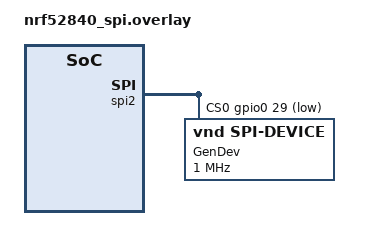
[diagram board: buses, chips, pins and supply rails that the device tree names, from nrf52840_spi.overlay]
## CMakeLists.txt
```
#
# Copyright (c) 2018 Nordic Semiconductor
#
# SPDX-License-Identifier: LicenseRef-Nordic-5-Clause
#
cmake_minimum_required(VERSION 3.20.0)

find_package(Zephyr REQUIRED HINTS $ENV{ZEPHYR_BASE})
project(peripheral_spi_test)

# NORDIC SDK APP START
target_sources(app PRIVATE
  src/main.c
)

# Preinitialization related to Thingy:53 DFU
target_sources_ifdef(CONFIG_BOARD_THINGY53_NRF5340_CPUAPP app PRIVATE
  boards/thingy53.c
)
target_sources_ifdef(CONFIG_BOARD_THINGY53_NRF5340_CPUAPP_NS app PRIVATE
  boards/thingy53.c
)


# NORDIC SDK APP END
zephyr_library_include_directories(.)
```

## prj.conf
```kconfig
#
# Copyright (c) 2018 Nordic Semiconductor
#
# SPDX-License-Identifier: LicenseRef-Nordic-5-Clause
#
CONFIG_FW_INFO=y
CONFIG_NCS_SAMPLES_DEFAULTS=y

CONFIG_BT=y
CONFIG_BT_PERIPHERAL=y
CONFIG_BT_DEVICE_NAME="Nordic_LBS"

# Enable the LBS service
CONFIG_BT_LBS=y
CONFIG_BT_LBS_POLL_BUTTON=y
CONFIG_DK_LIBRARY=y

CONFIG_SYSTEM_WORKQUEUE_STACK_SIZE=2048


CONFIG_SHELL=y
CONFIG_I2C=y
CONFIG_I2C_SHELL=y
CONFIG_SPI=y
CONFIG_SPEED_OPTIMIZATIONS=n

# Enable FPU
CONFIG_FPU=y
CONFIG_FPU_SHARING=y
# Enable newlib
CONFIG_NEWLIB_LIBC=y
CONFIG_NEWLIB_LIBC_FLOAT_PRINTF=y
```

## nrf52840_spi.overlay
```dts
&spi1 {
    status = "disabled";
};
&qspi {
    status = "disabled";
};
&led0 {
    status = "disabled";

}
;&led1 {
    status = "disabled";

};
/*
&spi2_default {
    psels = <NRF_PSEL(SPIM_SCK, 0, 13)>,
            <NRF_PSEL(SPIM_MOSI, 0, 15)>,
            <NRF_PSEL(SPIM_MISO, 0, 16)>;
};

&spi2_sleep {
    psels = <NRF_PSEL(SPIM_SCK, 0, 13)>,
            <NRF_PSEL(SPIM_MOSI, 0, 15)>,
            <NRF_PSEL(SPIM_MISO, 0, 16)>;
};
 */
&spi2 {
    compatible = "nordic,nrf-spi";
    status = "okay";
    cs-gpios = <&gpio0 29 GPIO_ACTIVE_LOW>;

    pinctrl-0 = <&spi1_default>;
    pinctrl-1 = <&spi1_sleep>;
    pinctrl-names = "default", "sleep";


    gendev: gendev@0 {
        compatible = "vnd,spi-device";
        reg = <0>;
        spi-max-frequency = <1000000>;
        label = "GenDev";
    };
};
```

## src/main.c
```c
/*
 * Copyright (c) 2018 Nordic Semiconductor ASA
 *
 * SPDX-License-Identifier: LicenseRef-Nordic-5-Clause
 */

#include <zephyr/types.h>
#include <stddef.h>
#include <string.h>
#include <errno.h>
#include <zephyr/sys/printk.h>
#include <zephyr/sys/byteorder.h>
#include <zephyr/kernel.h>
#include <zephyr/drivers/gpio.h>

#include <zephyr/drivers/spi.h>
#include <zephyr/logging/log.h>

LOG_MODULE_REGISTER(main, LOG_LEVEL_DBG);

#include <stdio.h>
#include <string.h>
#include <stdint.h>

#include <assert.h>
#include <soc.h>

#include <zephyr/bluetooth/bluetooth.h>
#include <zephyr/bluetooth/hci.h>
#include <zephyr/bluetooth/conn.h>
#include <zephyr/bluetooth/uuid.h>
#include <zephyr/bluetooth/gatt.h>

#include <bluetooth/services/lbs.h>

#include <zephyr/settings/settings.h>

#include <dk_buttons_and_leds.h>

#include "ICM42688_Registers.h"

#define DEVICE_NAME CONFIG_BT_DEVICE_NAME
#define DEVICE_NAME_LEN (sizeof(DEVICE_NAME) - 1)

#define RUN_STATUS_LED DK_LED1
#define CON_STATUS_LED DK_LED2
#define RUN_LED_BLINK_INTERVAL 1000

#define USER_LED DK_LED3

#define USER_BUTTON DK_BTN1_MSK

// #define SPI_OP_MODE (SPI_OP_MODE_MASTER | SPI_WORD_SET(8) | SPI_LINES_SINGLE)
// static const struct spi_dt_spec spiDev = SPI_DT_SPEC_GET(DT_NODELABEL(icm20689), SPI_OP_MODE, 0);

#define SPIOP (SPI_OP_MODE_MASTER | SPI_WORD_SET(8) | SPI_LINES_SINGLE)
static const struct spi_dt_spec spispec = SPI_DT_SPEC_GET(DT_NODELABEL(gendev), SPIOP, 0);
#define WHO_AM_I_REG 0x75
#define RESET_REG 0x6b
#define WHO_AM_I_VAL 0x47
#define ICM_READ_BIT_MASK (0x80)
#define ICM_WRITE_BIT_MASK (0x7F)
static struct inv_icm207xx_serif icm207xx_serif;

extern const struct device *spi_dev;
const struct spi_config spi_cfg = {
	.frequency = 1000000, // 1 MHz
	.operation = SPI_OP_MODE_MASTER | SPI_WORD_SET(8) | SPI_LINES_SINGLE,
	.slave = 0, // CS 线路
	.cs = NULL, // 如果需要，这里可以指定一个 spi_cs_control 结构体来控制片选线
};
#define SPIOP SPI_WORD_SET(8) | SPI_TRANSFER_MSB

static bool app_button_state;

static const struct bt_data ad[] = {
	BT_DATA_BYTES(BT_DATA_FLAGS, (BT_LE_AD_GENERAL | BT_LE_AD_NO_BREDR)),
	BT_DATA(BT_DATA_NAME_COMPLETE, DEVICE_NAME, DEVICE_NAME_LEN),
};

static const struct bt_data sd[] = {
	BT_DATA_BYTES(BT_DATA_UUID128_ALL, BT_UUID_LBS_VAL),
};
struct inv_icm207xx_serif
{
	void *context;
	int (*read_reg)(void *context, uint8_t reg, uint8_t *buf, uint32_t len);
	int (*write_reg)(void *context, uint8_t reg, const uint8_t *buf, uint32_t len);
	uint32_t max_read;
	uint32_t max_write;
	int is_spi;
};

static void connected(struct bt_conn *conn, uint8_t err)
{
	if (err)
	{
		printk("Connection failed (err %u)\n", err);
		return;
	}

	printk("Connected\n");

	dk_set_led_on(CON_STATUS_LED);
}

static void disconnected(struct bt_conn *conn, uint8_t reason)
{
	printk("Disconnected (reason %u)\n", reason);

	dk_set_led_off(CON_STATUS_LED);
}

#ifdef CONFIG_BT_LBS_SECURITY_ENABLED
static void security_changed(struct bt_conn *conn, bt_security_t level,
							 enum bt_security_err err)
{
	char addr[BT_ADDR_LE_STR_LEN];

	bt_addr_le_to_str(bt_conn_get_dst(conn), addr, sizeof(addr));

	if (!err)
	{
		printk("Security changed: %s level %u\n", addr, level);
	}
	else
	{
		printk("Security failed: %s level %u err %d\n", addr, level,
			   err);
	}
}
#endif

BT_CONN_CB_DEFINE(conn_callbacks) = {
	.connected = connected,
	.disconnected = disconnected,
#ifdef CONFIG_BT_LBS_SECURITY_ENABLED
	.security_changed = security_changed,
#endif
};

#if defined(CONFIG_BT_LBS_SECURITY_ENABLED)
static void auth_passkey_display(struct bt_conn *conn, unsigned int passkey)
{
	char addr[BT_ADDR_LE_STR_LEN];

	bt_addr_le_to_str(bt_conn_get_dst(conn), addr, sizeof(addr));

	printk("Passkey for %s: %06u\n", addr, passkey);
}

static void auth_cancel(struct bt_conn *conn)
{
	char addr[BT_ADDR_LE_STR_LEN];

	bt_addr_le_to_str(bt_conn_get_dst(conn), addr, sizeof(addr));

	printk("Pairing cancelled: %s\n", addr);
}

static void pairing_complete(struct bt_conn *conn, bool bonded)
{
	char addr[BT_ADDR_LE_STR_LEN];

	bt_addr_le_to_str(bt_conn_get_dst(conn), addr, sizeof(addr));

	printk("Pairing completed: %s, bonded: %d\n", addr, bonded);
}

static void pairing_failed(struct bt_conn *conn, enum bt_security_err reason)
{
	char addr[BT_ADDR_LE_STR_LEN];

	bt_addr_le_to_str(bt_conn_get_dst(conn), addr, sizeof(addr));

	printk("Pairing failed conn: %s, reason %d\n", addr, reason);
}

static struct bt_conn_auth_cb conn_auth_callbacks = {
	.passkey_display = auth_passkey_display,
	.cancel = auth_cancel,
};

static struct bt_conn_auth_info_cb conn_auth_info_callbacks = {
	.pairing_complete = pairing_complete,
	.pairing_failed = pairing_failed};
#else
static struct bt_conn_auth_cb conn_auth_callbacks;
static struct bt_conn_auth_info_cb conn_auth_info_callbacks;
#endif

static void app_led_cb(bool led_state)
{
	dk_set_led(USER_LED, led_state);
}

static bool app_button_cb(void)
{
	return app_button_state;
}

static struct bt_lbs_cb lbs_callbacs = {
	.led_cb = app_led_cb,
	.button_cb = app_button_cb,
};

static void button_changed(uint32_t button_state, uint32_t has_changed)
{
	if (has_changed & USER_BUTTON)
	{
		uint32_t user_button_state = button_state & USER_BUTTON;

		bt_lbs_send_button_state(user_button_state);
		app_button_state = user_button_state ? true : false;
	}
}

static int init_button(void)
{
	int err;

	err = dk_buttons_init(button_changed);
	if (err)
	{
		printk("Cannot init buttons (err: %d)\n", err);
	}

	return err;
}
int spi_master_transfer(uint8_t reg, const uint8_t *tx, uint32_t tx_len, uint8_t *rx, uint32_t rx_len)
{

	static uint8_t _send[32];
	static uint8_t _recv[64];
	memset(_send, 0, sizeof(_send));
	_send[0] = reg;

	if (tx_len && tx_len < sizeof(_send) - 1) // 确保不会超出 _send 数组的界限
	{
		memcpy(&_send[1], tx, tx_len);
	}
#ifdef DEBUG
	printk("reg 0x%02x \n", reg);
	// print tx
	printk("tx_len %d \n", tx_len);
	for (int i = 0; i < tx_len; i++)
	{
		printk("0x%02x ", tx[i]);
	}
	// print _send
	printk("\n");
	for (int i = 0; i < tx_len + 1; i++)
	{
		printk("0x%02x ", _send[i]);
	}

	printk("\n");
#endif
	struct spi_buf tx_spi_buf = {.buf = (void *)_send, .len = sizeof(reg) + tx_len};
	struct spi_buf_set tx_set = {.buffers = &tx_spi_buf, .count = 1};
	struct spi_buf rx_spi_buf = {.buf = (void *)_recv, .len = tx_spi_buf.len + rx_len};
	struct spi_buf_set rx_set = {.buffers = &rx_spi_buf, .count = 1};
	spi_transceive_dt(&spispec, &tx_set, &rx_set);

	if (rx_len)
	{
		// printk("_recv[tx_spi_buf.len] 0x%02x \n", _recv[tx_spi_buf.len]);
		memcpy(rx, &_recv[tx_spi_buf.len], rx_len);
	}

	return 0;
}
static int idd_io_hal_read_reg(void *context, uint8_t reg, uint8_t *rbuffer, uint32_t rlen)
{
	(void)context;
	return spi_master_transfer(reg | ICM_READ_BIT_MASK, NULL, 0, rbuffer, rlen);
}

static int idd_io_hal_write_reg(void *context, uint8_t reg, const uint8_t *wbuffer, uint32_t wlen)
{
	(void)context;
	return spi_master_transfer(reg & ICM_WRITE_BIT_MASK, wbuffer, wlen, NULL, 0);
}

void read_spi_data_from_register(void)
{
	uint8_t tx_buffer[] = {WHO_AM_I_REG | 0x80}; // 设定读取命令，这里假设需要设置最高位为1
	uint8_t rx_buffer[10] = {0};				 // 假设我们需要读取 10 个字节的数据

	struct spi_buf tx_buf = {
		.buf = tx_buffer,
		.len = sizeof(tx_buffer)};
	struct spi_buf rx_buf = {
		.buf = rx_buffer,
		.len = sizeof(rx_buffer)};

	struct spi_buf_set tx_bufs = {
		.buffers = &tx_buf,
		.count = 1};
	struct spi_buf_set rx_bufs = {
		.buffers = &rx_buf,
		.count = 1};

	/* 调用 spi_transceive 来发送读取命令并接收数据 */
	int ret = spi_transceive(spi_dev, &spi_cfg, &tx_bufs, &rx_bufs);
	if (ret == 0)
	{
		printk("Data read from register successfully.\n");
		// 这里可以添加代码来处理接收到的数据
	}
	else
	{
		printk("Failed to read data from register: %d\n", ret);
	}
}
void main(void)
{
	int blink_status = 0;
	int err;
	LOG_INF("Connected");
	printk("Starting Bluetooth Peripheral LBS example\n");
	printk("Starting Bluetooth Peripheral LBS example\n");

	err = dk_leds_init();
	if (err)
	{
		printk("LEDs init failed (err %d)\n", err);
		return;
	}

	err = init_button();
	if (err)
	{
		printk("Button init failed (err %d)\n", err);
		return;
	}

	if (IS_ENABLED(CONFIG_BT_LBS_SECURITY_ENABLED))
	{
		err = bt_conn_auth_cb_register(&conn_auth_callbacks);
		if (err)
		{
			printk("Failed to register authorization callbacks.\n");
			return;
		}

		err = bt_conn_auth_info_cb_register(&conn_auth_info_callbacks);
		if (err)
		{
			printk("Failed to register authorization info callbacks.\n");
			return;
		}
	}

	err = bt_enable(NULL);
	if (err)
	{
		printk("Bluetooth init failed (err %d)\n", err);
		return;
	}

	printk("Bluetooth initialized\n");

	if (IS_ENABLED(CONFIG_SETTINGS))
	{
		settings_load();
	}

	err = bt_lbs_init(&lbs_callbacs);
	if (err)
	{
		printk("Failed to init LBS (err:%d)\n", err);
		return;
	}

	err = bt_le_adv_start(BT_LE_ADV_CONN, ad, ARRAY_SIZE(ad),
						  sd, ARRAY_SIZE(sd));
	if (err)
	{
		printk("Advertising failed to start (err %d)\n", err);
		return;
	}

	printk("Advertising successfully started\n");

	if (!spi_is_ready(&spispec))
	{
		printk("Device spi not ready, aborting test");
		return -ENXIO;
	}
	else
	{

		printk("Device spi ready\n");
	}

	uint8_t tx_data[] = {0x00}; // 创建包含单个字节的数组
	uint8_t rx_data[] = {0x00}; // 创建包含单个字节的数组
	for (;;)
	{

		dk_set_led(RUN_STATUS_LED, (++blink_status) % 2);
		k_sleep(K_MSEC(1));
		spi_master_transfer(UB0_REG_DEVICE_CONFIG & ICM_WRITE_BIT_MASK, (uint8_t[]){0x01}, 1, NULL, 0);
		spi_master_transfer(WHO_AM_I_REG | ICM_READ_BIT_MASK, NULL, 0, rx_data, 1);
		printk("WHOAMI 0x%02x \n", rx_data[0]);

		// MGMT0 CONFIG
		spi_master_transfer(UB0_REG_PWR_MGMT0 & ICM_WRITE_BIT_MASK, (uint8_t[]){0x0F}, 1, NULL, 0); // UB0_REG_PWR_MGMT0 W 0x0F
		spi_master_transfer(UB0_REG_PWR_MGMT0 | ICM_READ_BIT_MASK, NULL, 0, rx_data, 1);
		printk("MGMT0 0x%02x \n", rx_data[0]);

		// ACC CONFIG0
		spi_master_transfer(UB0_REG_ACCEL_CONFIG0 & ICM_WRITE_BIT_MASK, (uint8_t[]){0x07}, 1, NULL, 0); // UB0_REG_PWR_MGMT0 W 0x0F
		spi_master_transfer(UB0_REG_ACCEL_CONFIG0 | ICM_READ_BIT_MASK, NULL, 0, rx_data, 1);
		printk("ACLLEL_CONFIG 0x%02x \n", rx_data[0]);

		// ACC CONFIG1
		spi_master_transfer(UB0_REG_ACCEFL_CONFIG1 & ICM_WRITE_BIT_MASK, (uint8_t[]){0x14}, 1, NULL, 0); // UB0_REG_PWR_MGMT0 W 0x0F
		spi_master_transfer(UB0_REG_ACCEFL_CONFIG1 | ICM_READ_BIT_MASK, NULL, 0, rx_data, 1);
		printk("GYRO CONFIG1 0x%02x \n", rx_data[0]);

		// GYRO CONFIG0
		spi_master_transfer(UB0_REG_GYRO_CONFIG0 & ICM_WRITE_BIT_MASK, (uint8_t[]){0x06}, 1, NULL, 0); // UB0_REG_PWR_MGMT0 W 0x0F
		spi_master_transfer(UB0_REG_GYRO_CONFIG0 | ICM_READ_BIT_MASK, NULL, 0, rx_data, 1);
		printk("GYRO CONFIG0 0x%02x \n", rx_data[0]);

		// GYRO CONFIG1
		spi_master_transfer(UB0_REG_GYRO_CONFIG1 & ICM_WRITE_BIT_MASK, (uint8_t[]){0x2A}, 1, NULL, 0); // UB0_REG_PWR_MGMT0 W 0x0F
		spi_master_transfer(UB0_REG_GYRO_CONFIG1 | ICM_READ_BIT_MASK, NULL, 0, rx_data, 1);
		printk("GYRO CONFIG1 0x%02x \n", rx_data[0]);

		// GYRO_ACCEL_CONFIG
		spi_master_transfer(UB0_REG_GYRO_ACCEL_CONFIG0 & ICM_WRITE_BIT_MASK, (uint8_t[]){0x22}, 1, NULL, 0); // UB0_REG_PWR_MGMT0 W 0x0F
		spi_master_transfer(UB0_REG_GYRO_ACCEL_CONFIG0 | ICM_READ_BIT_MASK, NULL, 0, rx_data, 1);
		printk("GYRO_ACCEL_CONFIG 0x%02x \n", rx_data[0]);
		// k_msleep(1000);
		while (1)
		{
			spi_master_transfer(UB0_REG_TEMP_DATA1 | ICM_READ_BIT_MASK, NULL, 0, rx_data, 14);
			int16_t temp_raw = (int16_t)((rx_data[0] << 8) | rx_data[1]); // 将两个字节合并为一个 16 位整数
			double temp_c = temp_raw / 132.48 + 25;						  // 计算温度值，保持为浮点数以保持精度
			printk("T= %.2f ", temp_c);									  // 以浮点格式打印温度值			printk("ACCEL_DATA_X1 0x%02x \n", rx_data[2]);

			int16_t acc_x = (int16_t)((rx_data[2] << 8) | rx_data[3]);
			int16_t acc_y = (int16_t)((rx_data[4] << 8) | rx_data[5]);
			int16_t acc_z = (int16_t)((rx_data[6] << 8) | rx_data[7]);

			int16_t gyro_x = (int16_t)((rx_data[8] << 8) | rx_data[9]);
			int16_t gyro_y = (int16_t)((rx_data[10] << 8) | rx_data[11]);
			int16_t gyro_z = (int16_t)((rx_data[12] << 8) | rx_data[13]);
			printk("\tAX= %d ", acc_x);
			printk("\tAY= %d ", acc_y);
			printk("\tAZ= %d ", acc_z);
			printk("\tGX= %d ", gyro_x);
			printk("\tGY= %d ", gyro_y);
			printk("\tGZ= %d \n", gyro_z);
			k_msleep(5);
		}
	}
}
```

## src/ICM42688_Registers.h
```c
#ifndef ICM42688_REGISTERS_H_
#define ICM42688_REGISTERS_H_

#include <stdint.h>

// Accesible from all user banks
#define REG_BANK_SEL 0x76

// User Bank 0
#define UB0_REG_DEVICE_CONFIG 0x11
#define UB0_REG_DRIVE_CONFIG 0x13
#define UB0_REG_INT_CONFIG 0x14
#define UB0_REG_FIFO_CONFIG 0x16
#define UB0_REG_TEMP_DATA1 0x1D
#define UB0_REG_TEMP_DATA0 0x1E
#define UB0_REG_ACCEL_DATA_X1 0x1F
#define UB0_REG_ACCEL_DATA_X0 0x20
#define UB0_REG_ACCEL_DATA_Y1 0x21
#define UB0_REG_ACCEL_DATA_Y0 0x22
#define UB0_REG_ACCEL_DATA_Z1 0x23
#define UB0_REG_ACCEL_DATA_Z0 0x24
#define UB0_REG_GYRO_DATA_X1 0x25
#define UB0_REG_GYRO_DATA_X0 0x26
#define UB0_REG_GYRO_DATA_Y1 0x27
#define UB0_REG_GYRO_DATA_Y0 0x28
#define UB0_REG_GYRO_DATA_Z1 0x29
#define UB0_REG_GYRO_DATA_Z0 0x2A
#define UB0_REG_TMST_FSYNCH 0x2B
#define UB0_REG_TMST_FSYNCL 0x2C
#define UB0_REG_INT_STATUS 0x2D
#define UB0_REG_FIFO_COUNTH 0x2E
#define UB0_REG_FIFO_COUNTL 0x2F
#define UB0_REG_FIFO_DATA 0x30
#define UB0_REG_APEX_DATA0 0x31
#define UB0_REG_APEX_DATA1 0x32
#define UB0_REG_APEX_DATA2 0x33
#define UB0_REG_APEX_DATA3 0x34
#define UB0_REG_APEX_DATA4 0x35
#define UB0_REG_APEX_DATA5 0x36
#define UB0_REG_INT_STATUS2 0x37
#define UB0_REG_INT_STATUS3 0x38
#define UB0_REG_SIGNAL_PATH_RESET 0x4B
#define UB0_REG_INTF_CONFIG0 0x4C
#define UB0_REG_INTF_CONFIG1 0x4D
#define UB0_REG_PWR_MGMT0 0x4E
#define UB0_REG_GYRO_CONFIG0 0x4F
#define UB0_REG_ACCEL_CONFIG0 0x50
#define UB0_REG_GYRO_CONFIG1 0x51
#define UB0_REG_GYRO_ACCEL_CONFIG0 0x52
#define UB0_REG_ACCEFL_CONFIG1 0x53
#define UB0_REG_TMST_CONFIG 0x54
#define UB0_REG_APEX_CONFIG0 0x56
#define UB0_REG_SMD_CONFIG 0x57
#define UB0_REG_FIFO_CONFIG1 0x5F
#define UB0_REG_FIFO_CONFIG2 0x60
#define UB0_REG_FIFO_CONFIG3 0x61
#define UB0_REG_FSYNC_CONFIG 0x62
#define UB0_REG_INT_CONFIG0 0x63
#define UB0_REG_INT_CONFIG1 0x64
#define UB0_REG_INT_SOURCE0 0x65
#define UB0_REG_INT_SOURCE1 0x66
#define UB0_REG_INT_SOURCE3 0x68
#define UB0_REG_INT_SOURCE4 0x69
#define UB0_REG_FIFO_LOST_PKT0 0x6C
#define UB0_REG_FIFO_LOST_PKT1 0x6D
#define UB0_REG_SELF_TEST_CONFIG 0x70
#define UB0_REG_WHO_AM_I 0x75

// Additional definitions for other banks can be added below using the same pattern

#endif // ICM42688_REGISTERS_H_
```
